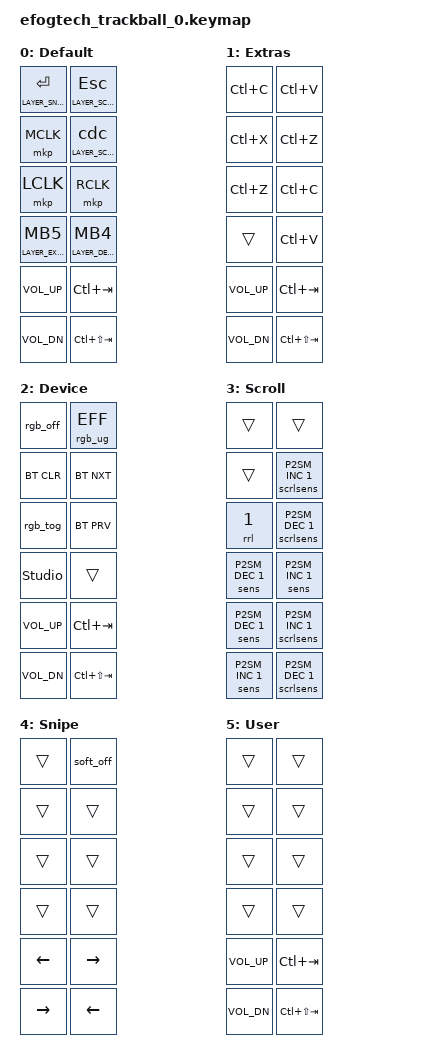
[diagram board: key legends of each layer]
#include <behaviors.dtsi>
#include <dt-bindings/zmk/bt.h>
#include <dt-bindings/zmk/keys.h>
#include <dt-bindings/zmk/pointing.h>
#include <dt-bindings/zmk/outputs.h>
#include <dt-bindings/zmk/p2sm.h>
#include <dt-bindings/zmk/rgb.h>
#include <dt-bindings/zmk/ext_power.h>

#define LAYER_DEFAULT      0
#define LAYER_EXTRAS       1
#define LAYER_DEVICE       2
#define LAYER_SCROLL       3
#define LAYER_SNIPE        4
#define LAYER_USER         5

#define POINTER_MULTIPLIER 7
#define POINTER_DIVISOR    4

#define TWIST_MULTIPLIER   1
#define TWIST_DIVISOR      1

#define SCROLL_MULTIPLIER  1
#define SCROLL_DIVISOR     3

#define SNIPE_MULTIPLIER   1
#define SNIPE_DIVISOR      4

/ {
	keymap {
		compatible = "zmk,keymap";

		default_layer {
			display-name = "Default";
			DECLARE_ENCODERS;
			bindings = <
				// buttons
				&ltmkp LAYER_SNIPE ENTER  &ltmkp LAYER_SCROLL ESC
				&mkp MCLK                 &cdch LAYER_SCROLL 0
				&mkp LCLK                 &mkp RCLK
				&ltm LAYER_EXTRAS MB5     &ltm LAYER_DEVICE MB4

				// rotary encoders
				&kp C_VOL_UP              &kp LC(TAB)
				&kp C_VOL_DN              &kp LC(LS(TAB))
			>;
		};

		layer2 {
			display-name = "Extras";
			DECLARE_ENCODERS;
			bindings = <
				&kp LC(C)      &kp LC(V)
				&kp LC(X)      &kp LC(Z)
				&kp LC(Z)      &kp LC(C)
				&trans         &kp LC(V)

				&kp C_VOL_UP   &kp LC(TAB)
				&kp C_VOL_DN   &kp LC(LS(TAB))
			>;
		};

		layer3 {
			display-name = "Device";
			DECLARE_ENCODERS;
			bindings = <
				&rgb_off           &rgb_ug RGB_EFF
				&bt BT_CLR         &bt BT_NXT
				&rgb_tog           &bt BT_PRV
				&studio_unlock     &trans

				&kp C_VOL_UP       &kp LC(TAB)
				&kp C_VOL_DN       &kp LC(LS(TAB))
			>;
		};

		layer4 {
			display-name = "Scroll";
			DECLARE_ENCODERS;
			bindings = <
			    &trans              &trans
			    &trans              &scrlsens P2SM_INC 1
			    &rrl 1              &scrlsens P2SM_DEC 1
			    &sens P2SM_DEC 1    &sens P2SM_INC 1

				&sens P2SM_DEC 1    &scrlsens P2SM_INC 1
				&sens P2SM_INC 1    &scrlsens P2SM_DEC 1
			>;
		};

		layer5 {
			display-name = "Snipe";
			DECLARE_ENCODERS;
			bindings = <
				&trans           &soft_off
				&trans           &trans
				&trans           &trans
				&trans           &trans

				&kp LEFT         &kp RIGHT
				&kp RIGHT        &kp LEFT
			>;
		};

		layer6 {
			display-name = "User";
			DECLARE_ENCODERS;
			bindings = <
				&trans        &trans
				&trans        &trans
				&trans        &trans
				&trans        &trans

				&kp C_VOL_UP  &kp LC(TAB)
				&kp C_VOL_DN  &kp LC(LS(TAB))
		    >;
		};
	};

	behaviors {
		cdch: click-double-click-hold {
			compatible = "zmk,behavior-hold-tap";
			display-name = "Copy/paste/layer (click/double-click/hold)";
			#binding-cells = <2>;
			flavor = "tap-preferred";
			tapping-term-ms = <325>;
			bindings = <&mo>, <&cdc>;
		};

		cdc: click-double-click {
			compatible = "zmk,behavior-tap-dance";
			display-name = "Copy/paste (click/double-click)";
			#binding-cells = <0>;
			tapping-term-ms = <300>;
			bindings = <&kp LC(C)>, <&kp LC(V)>;
		};
	};

	trackball {
		input-processors = <&zip_xy_scaler POINTER_MULTIPLIER POINTER_DIVISOR>,
                           <&zip_scroll_scaler TWIST_MULTIPLIER TWIST_DIVISOR>,
						   <&zip_pointer_accel>, <&zip_scroll_accel>,
						   <&zip_rotate_pointer>, <&zip_rotate_scroll>,
		                   <&zip_ble_report_rate_limit>;

		scroll {
			layers = <LAYER_SCROLL>;
			input-processors = <&zip_xy_scaler SCROLL_MULTIPLIER SCROLL_DIVISOR>, <&zip_axis_clamper>,
							   <&zip_xy_to_scroll_mapper>, <&zip_scroll_transform INPUT_TRANSFORM_Y_INVERT>,
							   <&zip_scroll_accel>, <&zip_rotate_scroll>, <&zip_ble_report_rate_limit>;
		};

		snipe {
			layers = <LAYER_SNIPE>;
			input-processors = <&zip_xy_scaler SNIPE_MULTIPLIER SNIPE_DIVISOR>,
							   <&zip_rotate_pointer>, <&zip_rotate_scroll>, <&zip_ble_report_rate_limit>;
		};
	};

	macros {
		scroll_down: scroll_down {
			compatible = "zmk,behavior-macro";
			display-name = "Scroll down";
			#binding-cells = <0>;
			wait-ms = <2>;
			bindings = <&msc MOVE_Y(-2000)>;
		};

		scroll_up: scroll_up {
			compatible = "zmk,behavior-macro";
			display-name = "Scroll up";
			#binding-cells = <0>;
			wait-ms = <2>;
			bindings = <&msc MOVE_Y(2000)>;
		};

		scroll_left: scroll_left {
			compatible = "zmk,behavior-macro";
			display-name = "Scroll left";
			#binding-cells = <0>;
			wait-ms = <2>;
			bindings = <&msc MOVE_X(-2000)>;
		};

		scroll_right: scroll_right {
			compatible = "zmk,behavior-macro";
			display-name = "Scroll right";
			#binding-cells = <0>;
			wait-ms = <2>;
			bindings = <&msc MOVE_X(2000)>;
		};

		rgb_tog: rgb_tog {
			compatible = "zmk,behavior-macro";
			display-name = "Toggle RGB";
			#binding-cells = <0>;
			wait-ms = <20>;
			bindings
			= <&rgb_ug RGB_TOG>
			, <&ext_power EP_TOG>
			;
		};

		rgb_off: rgb_off {
			compatible = "zmk,behavior-macro";
			display-name = "RGB off";
			#binding-cells = <0>;
			wait-ms = <20>;
			bindings
			= <&ext_power EP_OFF>
			, <&rgb_ug RGB_OFF>
			;
		};
	};
};
